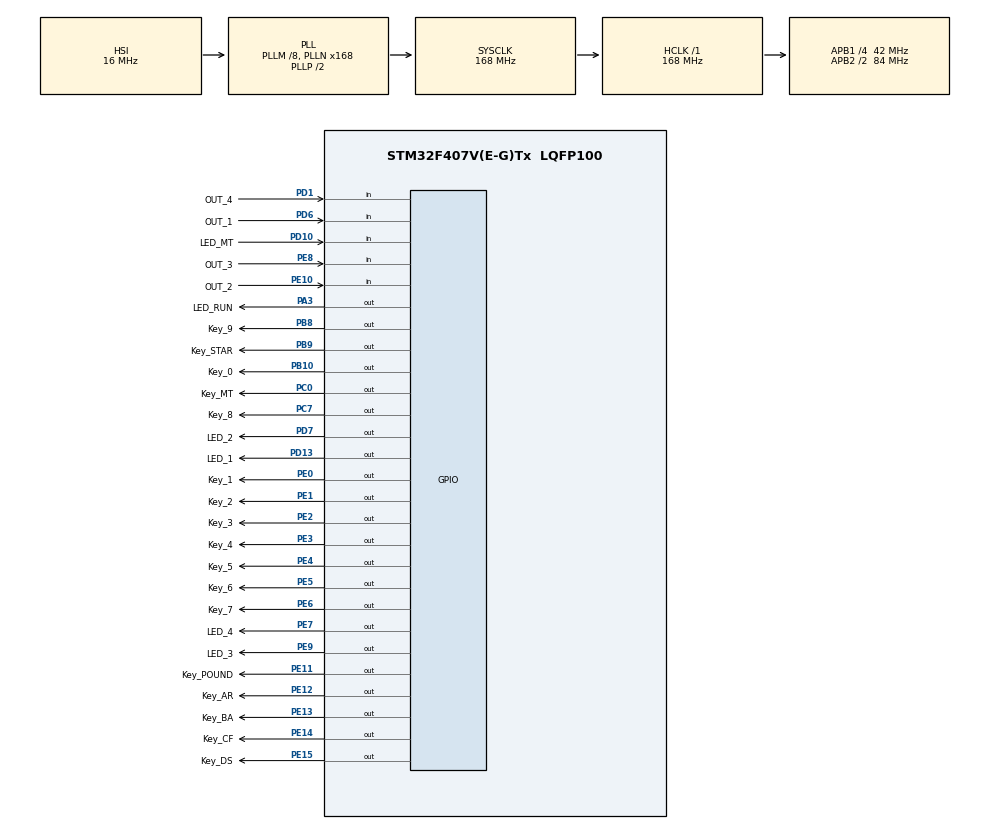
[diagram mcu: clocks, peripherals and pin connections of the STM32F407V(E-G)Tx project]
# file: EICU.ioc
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FREERTOS.Tasks01=defaultTask,0,128,StartDefaultTask,Default,NULL,Dynamic,NULL,NULL
Mcu.Family=STM32F4
Mcu.Name=STM32F407V(E-G)Tx
Mcu.Package=LQFP100
NVIC.PriorityGroup=NVIC_PRIORITYGROUP_4
NVIC.TIM1_UP_TIM10_IRQn=true\:15\:0\:false\:false\:true\:false\:false\:true\:true
NVIC.TimeBase=TIM1_UP_TIM10_IRQn
NVIC.TimeBaseIP=TIM1
PA13.Mode=Serial_Wire
PA13.Signal=SYS_JTMS-SWDIO
PA14.Mode=Serial_Wire
PA14.Signal=SYS_JTCK-SWCLK
PA3.GPIO_Label=LED_RUN
PA3.Signal=GPIO_Output
PB10.GPIO_Label=Key_0
PB10.GPIO_PuPd=GPIO_PULLDOWN
PB10.GPIO_Speed=GPIO_SPEED_FREQ_HIGH
PB10.PinState=GPIO_PIN_SET
PB10.Signal=GPIO_Output
PB8.GPIO_Label=Key_9
PB8.GPIO_PuPd=GPIO_PULLDOWN
PB8.GPIO_Speed=GPIO_SPEED_FREQ_HIGH
PB8.PinState=GPIO_PIN_SET
PB8.Signal=GPIO_Output
PB9.GPIO_Label=Key_STAR
PB9.GPIO_PuPd=GPIO_PULLDOWN
PB9.GPIO_Speed=GPIO_SPEED_FREQ_HIGH
PB9.PinState=GPIO_PIN_SET
PB9.Signal=GPIO_Output
PC0.GPIO_Label=Key_MT
PC0.GPIO_PuPd=GPIO_PULLDOWN
PC0.GPIO_Speed=GPIO_SPEED_FREQ_HIGH
PC0.PinState=GPIO_PIN_SET
PC0.Signal=GPIO_Output
PC7.GPIO_Label=Key_8
PC7.GPIO_PuPd=GPIO_PULLDOWN
PC7.GPIO_Speed=GPIO_SPEED_FREQ_HIGH
PC7.PinState=GPIO_PIN_SET
PC7.Signal=GPIO_Output
PD1.GPIO_Label=OUT_4
PD1.Signal=GPIO_Input
PD10.GPIO_Label=LED_MT
PD10.Signal=GPIO_Input
PD13.GPIO_Label=LED_1
PD13.PinState=GPIO_PIN_SET
PD13.Signal=GPIO_Output
PD6.GPIO_Label=OUT_1
PD6.Signal=GPIO_Input
PD7.GPIO_Label=LED_2
PD7.PinState=GPIO_PIN_SET
PD7.Signal=GPIO_Output
PE0.GPIO_Label=Key_1
PE0.GPIO_PuPd=GPIO_PULLDOWN
PE0.GPIO_Speed=GPIO_SPEED_FREQ_HIGH
PE0.PinState=GPIO_PIN_SET
PE0.Signal=GPIO_Output
PE1.GPIO_Label=Key_2
PE1.GPIO_ModeDefaultOutputPP=GPIO_MODE_OUTPUT_PP
PE1.GPIO_PuPd=GPIO_PULLDOWN
PE1.GPIO_Speed=GPIO_SPEED_FREQ_HIGH
PE1.PinState=GPIO_PIN_SET
PE1.Signal=GPIO_Output
PE10.GPIO_Label=OUT_2
PE10.Signal=GPIO_Input
PE11.GPIO_Label=Key_POUND
PE11.GPIO_ModeDefaultOutputPP=GPIO_MODE_OUTPUT_PP
PE11.GPIO_PuPd=GPIO_PULLDOWN
PE11.GPIO_Speed=GPIO_SPEED_FREQ_HIGH
PE11.PinState=GPIO_PIN_SET
PE11.Signal=GPIO_Output
PE12.GPIO_Label=Key_AR
PE12.GPIO_ModeDefaultOutputPP=GPIO_MODE_OUTPUT_PP
PE12.GPIO_PuPd=GPIO_PULLDOWN
PE12.GPIO_Speed=GPIO_SPEED_FREQ_HIGH
PE12.PinState=GPIO_PIN_SET
PE12.Signal=GPIO_Output
PE13.GPIO_Label=Key_BA
PE13.GPIO_ModeDefaultOutputPP=GPIO_MODE_OUTPUT_PP
PE13.GPIO_PuPd=GPIO_PULLDOWN
PE13.GPIO_Speed=GPIO_SPEED_FREQ_HIGH
PE13.PinState=GPIO_PIN_SET
PE13.Signal=GPIO_Output
PE14.GPIO_Label=Key_CF
PE14.GPIO_ModeDefaultOutputPP=GPIO_MODE_OUTPUT_PP
PE14.GPIO_PuPd=GPIO_PULLDOWN
PE14.GPIO_Speed=GPIO_SPEED_FREQ_HIGH
PE14.PinState=GPIO_PIN_SET
PE14.Signal=GPIO_Output
PE15.GPIO_Label=Key_DS
PE15.GPIO_ModeDefaultOutputPP=GPIO_MODE_OUTPUT_PP
PE15.GPIO_PuPd=GPIO_PULLDOWN
PE15.GPIO_Speed=GPIO_SPEED_FREQ_HIGH
PE15.PinState=GPIO_PIN_SET
PE15.Signal=GPIO_Output
PE2.GPIO_Label=Key_3
PE2.GPIO_ModeDefaultOutputPP=GPIO_MODE_OUTPUT_PP
PE2.GPIO_PuPd=GPIO_PULLDOWN
PE2.GPIO_Speed=GPIO_SPEED_FREQ_HIGH
PE2.PinState=GPIO_PIN_SET
PE2.Signal=GPIO_Output
PE3.GPIO_Label=Key_4
PE3.GPIO_ModeDefaultOutputPP=GPIO_MODE_OUTPUT_PP
PE3.GPIO_PuPd=GPIO_PULLDOWN
PE3.GPIO_Speed=GPIO_SPEED_FREQ_HIGH
PE3.PinState=GPIO_PIN_SET
PE3.Signal=GPIO_Output
PE4.GPIO_Label=Key_5
PE4.GPIO_ModeDefaultOutputPP=GPIO_MODE_OUTPUT_PP
PE4.GPIO_PuPd=GPIO_PULLDOWN
PE4.GPIO_Speed=GPIO_SPEED_FREQ_HIGH
PE4.PinState=GPIO_PIN_SET
PE4.Signal=GPIO_Output
PE5.GPIO_Label=Key_6
PE5.GPIO_ModeDefaultOutputPP=GPIO_MODE_OUTPUT_PP
PE5.GPIO_PuPd=GPIO_PULLDOWN
PE5.GPIO_Speed=GPIO_SPEED_FREQ_HIGH
PE5.PinState=GPIO_PIN_SET
PE5.Signal=GPIO_Output
PE6.GPIO_Label=Key_7
PE6.GPIO_ModeDefaultOutputPP=GPIO_MODE_OUTPUT_PP
PE6.GPIO_PuPd=GPIO_PULLDOWN
PE6.GPIO_Speed=GPIO_SPEED_FREQ_HIGH
PE6.PinState=GPIO_PIN_SET
PE6.Signal=GPIO_Output
PE7.GPIO_Label=LED_4
PE7.PinState=GPIO_PIN_SET
PE7.Signal=GPIO_Output
PE8.GPIO_Label=OUT_3
PE8.Signal=GPIO_Input
PE9.GPIO_Label=LED_3
PE9.PinState=GPIO_PIN_SET
PE9.Signal=GPIO_Output
PH0-OSC_IN.Mode=HSE-External-Oscillator
PH0-OSC_IN.Signal=RCC_OSC_IN
PH1-OSC_OUT.Mode=HSE-External-Oscillator
PH1-OSC_OUT.Signal=RCC_OSC_OUT
ProjectManager.HeapSize=0x200
ProjectManager.StackSize=0x400
ProjectManager.TargetToolchain=MDK-ARM V5
RCC.48MHZClocksFreq_Value=84000000
RCC.AHBFreq_Value=168000000
RCC.APB1CLKDivider=RCC_HCLK_DIV4
RCC.APB1Freq_Value=42000000
RCC.APB1TimFreq_Value=84000000
RCC.APB2CLKDivider=RCC_HCLK_DIV2
RCC.APB2Freq_Value=84000000
RCC.APB2TimFreq_Value=168000000
RCC.CortexFreq_Value=168000000
RCC.HCLKFreq_Value=168000000
RCC.HSE_VALUE=25000000
RCC.HSI_VALUE=16000000
RCC.LSE_VALUE=32768
RCC.PLLM=8
RCC.PLLN=168
RCC.SYSCLKFreq_VALUE=168000000
RCC.SYSCLKSource=RCC_SYSCLKSOURCE_PLLCLK
RCC.VCOOutputFreq_Value=336000000
VP_FREERTOS_VS_CMSIS_V1.Mode=CMSIS_V1
VP_SYS_VS_tim1.Mode=TIM1
board=custom

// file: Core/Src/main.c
/* USER CODE BEGIN Header */
/**
  ******************************************************************************
  * @file           : main.c
  * @brief          : Main program body
  ******************************************************************************
  * @attention
  *
  * Copyright (c) 2025 STMicroelectronics.
  * All rights reserved.
  *
  * This software is licensed under terms that can be found in the LICENSE file
  * in the root directory of this software component.
  * If no LICENSE file comes with this software, it is provided AS-IS.
  *
  ******************************************************************************
  */
/* USER CODE END Header */
#include "main.h"
#include "cmsis_os.h"
#include "gpio.h"

/* USER CODE BEGIN Includes */
#include "EICU_key.h"
/* USER CODE END Includes */

void SystemClock_Config(void);
void MX_FREERTOS_Init(void);

int main(void)
{

  /* MCU Configuration--------------------------------------------------------*/

  /* Reset of all peripherals, Initializes the Flash interface and the Systick. */
  HAL_Init();

  /* Configure the system clock */
  SystemClock_Config();

  /* Initialize all configured peripherals */
  MX_GPIO_Init();

  /* Call init function for freertos objects (in cmsis_os2.c) */
  MX_FREERTOS_Init();

  /* Start scheduler */
  osKernelStart();

  /* We should never get here as control is now taken by the scheduler */

  /* Infinite loop */
  while (1)
  {

  }
}

void SystemClock_Config(void)
{
  RCC_OscInitTypeDef RCC_OscInitStruct = {0};
  RCC_ClkInitTypeDef RCC_ClkInitStruct = {0};

  /** Configure the main internal regulator output voltage
  */
  __HAL_RCC_PWR_CLK_ENABLE();
  __HAL_PWR_VOLTAGESCALING_CONFIG(PWR_REGULATOR_VOLTAGE_SCALE1);

  /** Initializes the RCC Oscillators according to the specified parameters
  * in the RCC_OscInitTypeDef structure.
  */
  RCC_OscInitStruct.OscillatorType = RCC_OSCILLATORTYPE_HSI;
  RCC_OscInitStruct.HSIState = RCC_HSI_ON;
  RCC_OscInitStruct.HSICalibrationValue = RCC_HSICALIBRATION_DEFAULT;
  RCC_OscInitStruct.PLL.PLLState = RCC_PLL_ON;
  RCC_OscInitStruct.PLL.PLLSource = RCC_PLLSOURCE_HSI;
  RCC_OscInitStruct.PLL.PLLM = 8;
  RCC_OscInitStruct.PLL.PLLN = 168;
  RCC_OscInitStruct.PLL.PLLP = RCC_PLLP_DIV2;
  RCC_OscInitStruct.PLL.PLLQ = 4;
  if (HAL_RCC_OscConfig(&RCC_OscInitStruct) != HAL_OK)
  {
    Error_Handler();
  }

  /** Initializes the CPU, AHB and APB buses clocks
  */
  RCC_ClkInitStruct.ClockType = RCC_CLOCKTYPE_HCLK|RCC_CLOCKTYPE_SYSCLK
                              |RCC_CLOCKTYPE_PCLK1|RCC_CLOCKTYPE_PCLK2;
  RCC_ClkInitStruct.SYSCLKSource = RCC_SYSCLKSOURCE_PLLCLK;
  RCC_ClkInitStruct.AHBCLKDivider = RCC_SYSCLK_DIV1;
  RCC_ClkInitStruct.APB1CLKDivider = RCC_HCLK_DIV4;
  RCC_ClkInitStruct.APB2CLKDivider = RCC_HCLK_DIV2;

  if (HAL_RCC_ClockConfig(&RCC_ClkInitStruct, FLASH_LATENCY_5) != HAL_OK)
  {
    Error_Handler();
  }
}

void HAL_TIM_PeriodElapsedCallback(TIM_HandleTypeDef *htim)
{
  if (htim->Instance == TIM1)
  {
    HAL_IncTick();
  }
}

void Error_Handler(void)
{
  __disable_irq();
  while (1)
  {
  }
}

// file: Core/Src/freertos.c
/* USER CODE BEGIN Header */
/**
  ******************************************************************************
  * File Name          : freertos.c
  * Description        : Code for freertos applications
  ******************************************************************************
  * @attention
  *
  * Copyright (c) 2025 STMicroelectronics.
  * All rights reserved.
  *
  * This software is licensed under terms that can be found in the LICENSE file
  * in the root directory of this software component.
  * If no LICENSE file comes with this software, it is provided AS-IS.
  *
  ******************************************************************************
  */
/* USER CODE END Header */

#include "FreeRTOS.h"
#include "task.h"
#include "main.h"
#include "cmsis_os.h"

/* USER CODE BEGIN Includes */
#include "EICU_key.h"
/* USER CODE END Includes */

/* USER CODE BEGIN PTD */
#define START_TASK_PRIO         1
#define START_TASK_STACK_SIZE   128
TaskHandle_t    start_task_handler;
void start_task( void * pvParameters );

#define TASK1_PRIO         2
#define TASK1_STACK_SIZE   128
TaskHandle_t    task1_handler;
void task1( void * pvParameters );

#define TASK2_PRIO         3
#define TASK2_STACK_SIZE   128
TaskHandle_t    task2_handler;
void task2( void * pvParameters );

/* USER CODE END PTD */

/* USER CODE BEGIN PD */
uint8_t test_flag;
/* USER CODE END PD */

/* USER CODE BEGIN Variables */
#if 0
/* USER CODE END Variables */
osThreadId defaultTaskHandle;

/* USER CODE BEGIN FunctionPrototypes */
// void StartDefaultTask(void const * argument); #endif
/* USER CODE END FunctionPrototypes */

void StartDefaultTask(void const * argument);
#endif
void MX_FREERTOS_Init(void); /* (MISRA C 2004 rule 8.1) */

/* GetIdleTaskMemory prototype (linked to static allocation support) */
void vApplicationGetIdleTaskMemory( StaticTask_t **ppxIdleTaskTCBBuffer, StackType_t **ppxIdleTaskStackBuffer, uint32_t *pulIdleTaskStackSize );

/* USER CODE BEGIN GET_IDLE_TASK_MEMORY */
static StaticTask_t xIdleTaskTCBBuffer;
static StackType_t xIdleStack[configMINIMAL_STACK_SIZE];

void vApplicationGetIdleTaskMemory( StaticTask_t **ppxIdleTaskTCBBuffer, StackType_t **ppxIdleTaskStackBuffer, uint32_t *pulIdleTaskStackSize )
{
  *ppxIdleTaskTCBBuffer = &xIdleTaskTCBBuffer;
  *ppxIdleTaskStackBuffer = &xIdleStack[0];
  *pulIdleTaskStackSize = configMINIMAL_STACK_SIZE;
  /* place for user code */
}
/* USER CODE END GET_IDLE_TASK_MEMORY */

void MX_FREERTOS_Init(void) {

  /* USER CODE BEGIN RTOS_QUEUES */
  /* add queues, ... */
#if 0
  /* USER CODE END RTOS_QUEUES */

  /* Create the thread(s) */
  /* definition and creation of defaultTask */
  osThreadDef(defaultTask, StartDefaultTask, osPriorityNormal, 0, 128);
  defaultTaskHandle = osThreadCreate(osThread(defaultTask), NULL);

  /* USER CODE BEGIN RTOS_THREADS */
  /* add threads, ... */
#endif
    xTaskCreate((TaskFunction_t )   start_task,
        (char *                 )   "start_task",
        (configSTACK_DEPTH_TYPE )   START_TASK_STACK_SIZE,
        (void *                 )   NULL,
        (UBaseType_t            )   START_TASK_PRIO,
        (TaskHandle_t *         )   &start_task_handler );
  /* USER CODE END RTOS_THREADS */

}

/* USER CODE BEGIN Header_StartDefaultTask */
#if 0
/**
  * @brief  Function implementing the defaultTask thread.
  * @param  argument: Not used
  * @retval None
  */
/* USER CODE END Header_StartDefaultTask */
void StartDefaultTask(void const * argument)
{
  for(;;)
  {
    osDelay(1);
  }
}

/* USER CODE BEGIN Application */
#endif
void start_task( void * pvParameters )
{
    taskENTER_CRITICAL();

    xTaskCreate((TaskFunction_t         )   task1,
                (char *                 )   "task1",
                (configSTACK_DEPTH_TYPE )   TASK1_STACK_SIZE,
                (void *                 )   NULL,
                (UBaseType_t            )   TASK1_PRIO,
                (TaskHandle_t *         )   &task1_handler );

    xTaskCreate((TaskFunction_t         )   task2,
                (char *                 )   "task2",
                (configSTACK_DEPTH_TYPE )   TASK2_STACK_SIZE,
                (void *                 )   NULL,
                (UBaseType_t            )   TASK2_PRIO,
                (TaskHandle_t *         )   &task2_handler );

    vTaskDelete(start_task_handler);
    taskEXIT_CRITICAL();
}

void task1( void * pvParameters )
{
    while(1)
    {
        EICU_Main_Loop();
        vTaskDelay(1000);
    }
}

void task2( void * pvParameters )
{
    while(1)
    {
        HAL_GPIO_TogglePin(LED_RUN_GPIO_Port,LED_RUN_Pin);
        vTaskDelay(1000);
    }
}

/* USER CODE END Application */
